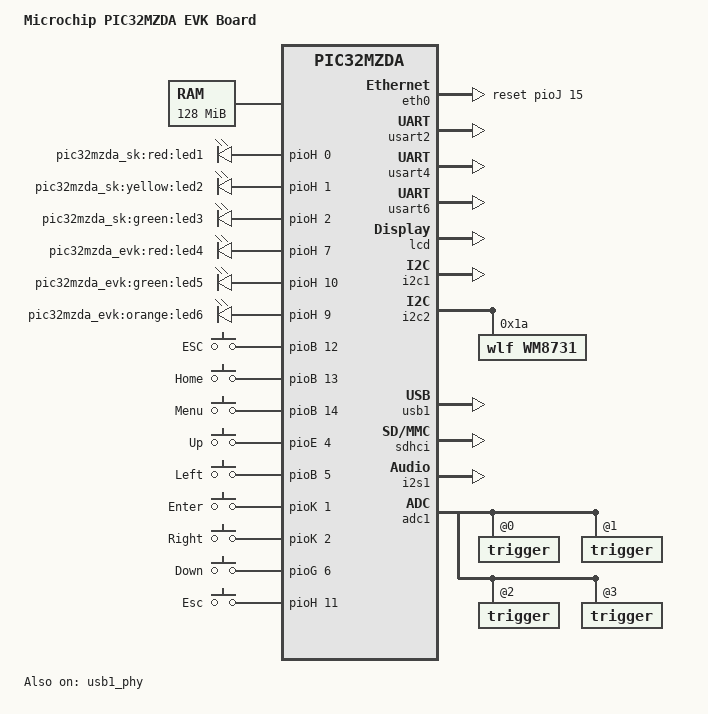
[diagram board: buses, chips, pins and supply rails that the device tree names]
/*
 * Copyright 2015 Microchip Technology, Inc.
 *
 * This program is free software; you can redistribute it and/or modify
 * it under the terms of the GNU General Public License version 2 as
 * published by the Free Software Foundation.
 *
 */

/dts-v1/;

#include <dt-bindings/gpio/gpio.h>
#include <dt-bindings/pinctrl/pic32mzda.h>

#include "pic32mzda.dtsi"

/ {
	compatible = "microchip,pic32mzda-evk", "microchip,pic32mzda";
	model = "Microchip PIC32MZDA EVK Board";

	memory {
		device_type = "memory";
		reg = <0x08000000 0x08000000>;
	};

	chosen {
		bootargs = "earlyprintk=ttyS1,115200n8r console=ttyS1,115200n8";
	};

	leds0 {
		compatible = "gpio-leds";
		pinctrl-names = "default";
		pinctrl-0 = <&user_leds_s0>;

		led@1 {
			label = "pic32mzda_sk:red:led1";
			gpios = <&pioH 0 GPIO_ACTIVE_HIGH>;
			linux,default-trigger = "heartbeat";
		};

		led@2 {
			label = "pic32mzda_sk:yellow:led2";
			gpios = <&pioH 1 GPIO_ACTIVE_HIGH>;
			linux,default-trigger = "mmc0";
		};

		led@3 {
			label = "pic32mzda_sk:green:led3";
			gpios = <&pioH 2 GPIO_ACTIVE_HIGH>;
			default-state = "on";
		};
	};

	leds1 {
		compatible = "gpio-leds";
		pinctrl-names = "default";
		pinctrl-0 = <&user_leds_s1>;

		led@4 {
			label = "pic32mzda_evk:red:led4";
			gpios = <&pioH 7 GPIO_ACTIVE_HIGH>;
			default-state = "on";
		};

		led@5 {
			label = "pic32mzda_evk:green:led5";
			gpios = <&pioH 10 GPIO_ACTIVE_HIGH>;
			default-state = "on";
		};

		led@6 {
			label = "pic32mzda_evk:orange:led6";
			gpios = <&pioH 9 GPIO_ACTIVE_HIGH>;
			default-state = "on";
		};
	};

	keys0 {
		compatible = "gpio-keys";
		pinctrl-0 = <&user_buttons_s0>;
		pinctrl-names = "default";
		#address-cells = <1>;
		#size-cells = <0>;

		button@sw1 {
			label = "ESC";
			linux,code = <1>;
			gpios = <&pioB 12 0>;
		};

		button@sw2 {
			label = "Home";
			linux,code = <102>;
			gpios = <&pioB 13 0>;
		};

		button@sw3 {
			label = "Menu";
			linux,code = <139>;
			gpios = <&pioB 14 0>;
		};
	};

	keys1 {
		compatible = "gpio-keys";
		pinctrl-0 = <&user_buttons_s1>;
		pinctrl-names = "default";
		#address-cells = <1>;
		#size-cells = <0>;

		button@sw4 {
			label = "Up";
			linux,code = <103>;
			gpios = <&pioE 4 0>;
		};

		button@sw5 {
			label = "Left";
			linux,code = <105>;
			gpios = <&pioB 5 0>;
		};

		button@sw6 {
			label = "Enter";
			linux,code = <28>;
			gpios = <&pioK 1 0>;
		};

		button@sw7 {
			label = "Right";
			linux,code = <106>;
			gpios = <&pioK 2 0>;
		};

		button@sw8 {
			label = "Down";
			linux,code = <108>;
			gpios = <&pioG 6 0>;
		};

		button@sw9 {
			label = "Esc";
			linux,code = <1>;
			gpios = <&pioH 11 0>;
		};
	};

	sound {
		compatible = "microchip,snd-pic32-proto";
		microchip,cpu-dai = <&i2s1 &i2s1>;
		microchip,audio-codec = <&wm8731>;
	};

	pwm1 {
		compatible = "microchip,pic32-pwm";
		microchip,timer = <&PBTIMER23>;
		microchip,ocmp = <&OCMP1>;
		pinctrl-names = "default";
		pinctrl-0 = <&pinctrl_oc1>;
		status = "okay";
	};

	pwm4 {
		compatible = "microchip,pic32-pwm";
		microchip,timer = <&PBTIMER23>;
		microchip,ocmp = <&OCMP4>;
		pinctrl-names = "default";
		pinctrl-0 = <&pinctrl_oc4>;
		status = "okay";
	};
};

&eth0 {
	mac-address = [00 00 00 00 00 00];
	pinctrl-names = "default";
	pinctrl-0 = <&pinctrl_eth0>;
	reset-gpio = <&pioJ 15 0>;
	status = "okay";
};

&usart2 {
	pinctrl-names = "default";
	pinctrl-0 = <&pinctrl_uart2>;
	status = "okay";
};

&usart4 {
	pinctrl-names = "default";
	pinctrl-0 = <&pinctrl_uart4>;
        microchip,uart-has-rtscts;
	status = "okay";
};

&usart6 {
	pinctrl-names = "default";
	pinctrl-0 = <&pinctrl_uart6
			&pinctrl_uart6_cts
		        &pinctrl_uart6_rts>;
        microchip,uart-has-rtscts;
	status = "okay";
};

&lcd {
	bits-per-pixel = <32>;
	pic32,transp-length = <0>;
	pic32,red-offset = <16>;
	pic32,grayscale = <0>;
	status = "okay";

	display-timings {
		native-mode = <&timing1>;

		timing0: 480x272 {
			pixclock = <40000000>;
			clock-frequency = <40000000>;
			hactive = <480>;
			vactive = <272>;
			hfront-porch = <1>;
			hback-porch = <42>;
			hsync-len = <2>;
			vback-porch = <40>;
			vfront-porch = <21>;
			vsync-len = <23>;
		};

		timing1: 800x480 {
			pixclock = <40000000>;
			clock-frequency = <40000000>;
			hactive = <800>;
			hfront-porch = <48>;
			hsync-len = <40>;
			hback-porch = <88>;
			vactive = <480>;
			vfront-porch = <3>;
			vsync-len = <13>;
			vback-porch = <32>;
		};
	};
};

&i2c1 {
	#address-cells = <1>;
	#size-cells = <0>;
	pinctrl-names = "default";
	pinctrl-0 = <&pinctrl_i2c1>;
	status = "okay";
};

&i2c2 {
	#address-cells = <1>;
	#size-cells = <0>;
	pinctrl-names = "default";
	pinctrl-0 = <&pinctrl_i2c2>;
	status = "okay";

	wm8731: wm8731@1a {
		compatible = "wlf,wm8731";
		reg = <0x1a>;
	};
};

&i2c3 {
	#address-cells = <1>;
	#size-cells = <0>;
	pinctrl-names = "default";
	pinctrl-0 = <&pinctrl_i2c3>;
	status = "disabled";
};

&usb1 {
	status = "okay";
};

&usb1_phy {
	status = "okay";
};

&sdhci {
	pinctrl-names = "default";
	pinctrl-0 = <&pinctrl_sdhc1>;
	status = "okay";
};

&i2s1 {
	pinctrl-names = "default";
	pinctrl-0 = <&pinctrl_i2s1>;
	status = "okay";
};

&spi4 {
	pinctrl-names = "default";
	pinctrl-0 = <&pinctrl_spi4>;
	status = "disabled";
};

&spi6 {
	pinctrl-names = "default";
	pinctrl-0 = <&pinctrl_spi6>;
	cs-gpios = <&pioC 1 GPIO_ACTIVE_LOW>;
	status = "disabled";
};

&adc1 {
	pinctrl-names = "default";
	pinctrl-0 = <&pinctrl_adc1>;
	enabled-channel-mask = <0x10000000>;
	resolution = <12>;
	vref = <3300>;
	status = "okay";

	trigger@0 {
		trigger-name = "int0-external-interrupt";
		trigger-value = <4>;
	};

	trigger@1 {
		trigger-name = "tmr1-match";
		trigger-value = <5>;
		microchip,timer = <&PBTIMER1>;
	};

	trigger@2 {
		trigger-name = "tmr3-match";
		trigger-value = <6>;
		microchip,timer = <&PBTIMER23>;
	};

	trigger@3 {
		trigger-name = "tmr5-match";
		trigger-value = <7>;
		microchip,timer = <&PBTIMER5>;
	};
};

&pic32_pinctrl {

	oc_pins1 {
		pinctrl_oc1: ocmp1_pins {

			pic32,pins = <PIC32_RP_OUT_RPB2 PIC32_PP_OUT_OC1
					PIC32_PIN_CONF_DG_OUT>;
		};
	};

	oc_pins4 {
		pinctrl_oc4: ocmp4_pins {

			pic32,pins = <PIC32_RP_OUT_RPE5 PIC32_PP_OUT_OC4
					PIC32_PIN_CONF_DG_OUT>;
		};
	};

	sdhc1 {
		pinctrl_sdhc1: sdhc1_pins0 {
			/* SDCLK */
			pic32,single-pins = <PORT_A 6 PIC32_PIN_CONF_DG>,
				<PORT_D 4 PIC32_PIN_CONF_DG>,	  /* SDCMD */
				<PORT_G 13 PIC32_PIN_CONF_DG>,	  /* SDDATA0 */
				<PORT_G 12 PIC32_PIN_CONF_DG>,	  /* SDDATA1 */
				<PORT_G 14 PIC32_PIN_CONF_DG>,	  /* SDDATA2 */
				<PORT_A 7 PIC32_PIN_CONF_DG>,	  /* SDDATA3 */
				<PORT_A 0 PIC32_PIN_CONF_DG>;	  /* SDCD */
		};
	};

	i2c1 {
		pinctrl_i2c1: i2c1_0 {
			pic32,single-pins = <PORT_A 14 PIC32_PIN_CONF_DG>,
				<PORT_A 15 PIC32_PIN_CONF_DG>;
		};
	};

	i2c2 {
		pinctrl_i2c2: i2c2_0 {
			pic32,single-pins = <PORT_A 3 PIC32_PIN_CONF_DG>,
				<PORT_A 2 PIC32_PIN_CONF_DG>;
		};
	};

	i2c3 {
		pinctrl_i2c3: i2c3_0 {
			pic32,single-pins = <PORT_F 8 PIC32_PIN_CONF_DG>,
				<PORT_F 2 PIC32_PIN_CONF_DG>;
		};
	};

	i2s1 {
		pinctrl_i2s1: i2s1_0 {
			pic32,single-pins = <PORT_D 1 PIC32_PIN_CONF_DG>;

			pic32,pins = <PIC32_RP_IN_RPB10 PIC32_PP_IN_SDI1
					PIC32_PIN_CONF_DG
				PIC32_RP_OUT_RPD7 PIC32_PP_OUT_SDO1
					PIC32_PIN_CONF_DG
				PIC32_RP_IN_RPB15 PIC32_PP_IN_SS1
					PIC32_PIN_CONF_DG
				PIC32_RP_OUT_RPB15 PIC32_PP_OUT_SS1
					PIC32_PIN_CONF_DG>;
		};
	};

	spi4 {
		pinctrl_spi4: spi4_0 {
			pic32,single-pins = <PORT_D 10 PIC32_PIN_CONF_DG>;

			pic32,pins = <PIC32_RP_IN_RPG7 PIC32_PP_IN_SDI4
					PIC32_PIN_CONF_DG
				PIC32_RP_OUT_RPB2 PIC32_PP_OUT_SDO4
					PIC32_PIN_CONF_DG
				PIC32_RP_IN_RPE9 PIC32_PP_IN_SS4
					PIC32_PIN_CONF_DG
				PIC32_RP_OUT_RPE9 PIC32_PP_OUT_SS4
					PIC32_PIN_CONF_DG>;
		};
	};

	spi6 {
		pinctrl_spi6: spi6_0 {
			pic32,single-pins = <PORT_D 15 PIC32_PIN_CONF_DG_OUT
						PORT_C 1 PIC32_PIN_CONF_DG_OUT>;

			pic32,pins = <PIC32_RP_IN_RPE8 PIC32_PP_IN_SDI6
					PIC32_PIN_CONF_DG_IN
				PIC32_RP_OUT_RPD5 PIC32_PP_OUT_SDO6
					PIC32_PIN_CONF_DG_OUT>;
		};
	};

	eth0 {
		pinctrl_eth0: eth0_0 {
			pic32,single-pins = <PORT_D 11 PIC32_PIN_CONF_DG>,
				<PORT_D 6 PIC32_PIN_CONF_DG>,
				<PORT_H 13 PIC32_PIN_CONF_DG>,
				<PORT_H 8 PIC32_PIN_CONF_DG>,
				<PORT_H 8 PIC32_PIN_CONF_PD>,
				<PORT_H 5 PIC32_PIN_CONF_DG>,
				<PORT_H 5 PIC32_PIN_CONF_PD>,
				<PORT_F 3 PIC32_PIN_CONF_DG>,
				<PORT_J 11 PIC32_PIN_CONF_DG>,
				<PORT_J 9 PIC32_PIN_CONF_DG>,
				<PORT_J 8 PIC32_PIN_CONF_DG>,
				<PORT_J 1 PIC32_PIN_CONF_DG>,
				<PORT_B 11 PIC32_PIN_CONF_DG_IN>,
				<PORT_J 15 PIC32_PIN_CONF_DG_OUT>;
		};
	};

	leds {
		user_leds_s0: user_leds_s0 {
			pic32,single-pins = <PORT_H 0 PIC32_PIN_CONF_DG_OUT
				PORT_H 1 PIC32_PIN_CONF_DG_OUT
				PORT_H 2 PIC32_PIN_CONF_DG_OUT>;
		};

		user_leds_s1: user_leds_s1 {
			pic32,single-pins = <PORT_H 7 PIC32_PIN_CONF_DG_OUT
				PORT_H 10 PIC32_PIN_CONF_DG_OUT
				PORT_H 9 PIC32_PIN_CONF_DG_OUT>;
		};
	};

	buttons0 {
		user_buttons_s0: user_buttons_s0 {
			pic32,single-pins = <PORT_B 12 PIC32_PIN_CONF_PU_IN
				PORT_B 13 PIC32_PIN_CONF_PU_IN
				PORT_B 14 PIC32_PIN_CONF_PU_IN>;
		};
	};

	buttons1 {
		user_buttons_s1: user_buttons_s1 {
			pic32,single-pins = <PORT_E 4 PIC32_PIN_CONF_DIN
				PORT_B 5 PIC32_PIN_CONF_DG_IN
				PORT_K 1 PIC32_PIN_CONF_DG_IN
				PORT_K 2 PIC32_PIN_CONF_DG_IN
				PORT_G 6 PIC32_PIN_CONF_DG_IN
				PORT_H 11 PIC32_PIN_CONF_DG_IN>;
		};
	};

	uart2 {
		pinctrl_uart2: uart2-0 {
			pic32,pins = <PIC32_RP_OUT_RPG9 PIC32_PP_OUT_U2TX
					PIC32_PIN_CONF_DG_OUT
				PIC32_RP_IN_RPB0 PIC32_PP_IN_U2RX
					PIC32_PIN_CONF_DG_IN>;
		};
	};

	uart4 {
		pinctrl_uart4: uart4-0 {
			pic32,pins = <PIC32_RP_OUT_RPC3 PIC32_PP_OUT_U4TX
					PIC32_PIN_CONF_DG_OUT
				PIC32_RP_IN_RPC2 PIC32_PP_IN_U4RX
					PIC32_PIN_CONF_DG_IN>;
		};
	};

	uart6 {
		pinctrl_uart6: uart6-0 {
			pic32,pins = <PIC32_RP_OUT_RPB8 PIC32_PP_OUT_U6TX
					PIC32_PIN_CONF_DG_OUT
				PIC32_RP_IN_RPD0 PIC32_PP_IN_U6RX
					PIC32_PIN_CONF_DG_IN>;
		};
		pinctrl_uart6_cts: uart6_cts-0 {
			pic32,pins = <PIC32_RP_IN_RPB9 PIC32_PP_IN_U6CTS
					PIC32_PIN_CONF_DG_IN>;
		};
		pinctrl_uart6_rts: uart6_rts-0 {
			pic32,pins = <PIC32_RP_OUT_RPC4 PIC32_PP_OUT_U6RTS
					PIC32_PIN_CONF_DG_OUT>;
		};
	};

	adc1 {
		pinctrl_adc1: adc1_0 {
			pic32,single-pins = <PORT_A 10 PIC32_PIN_CONF_AN_IN>;
		};
	};
};
